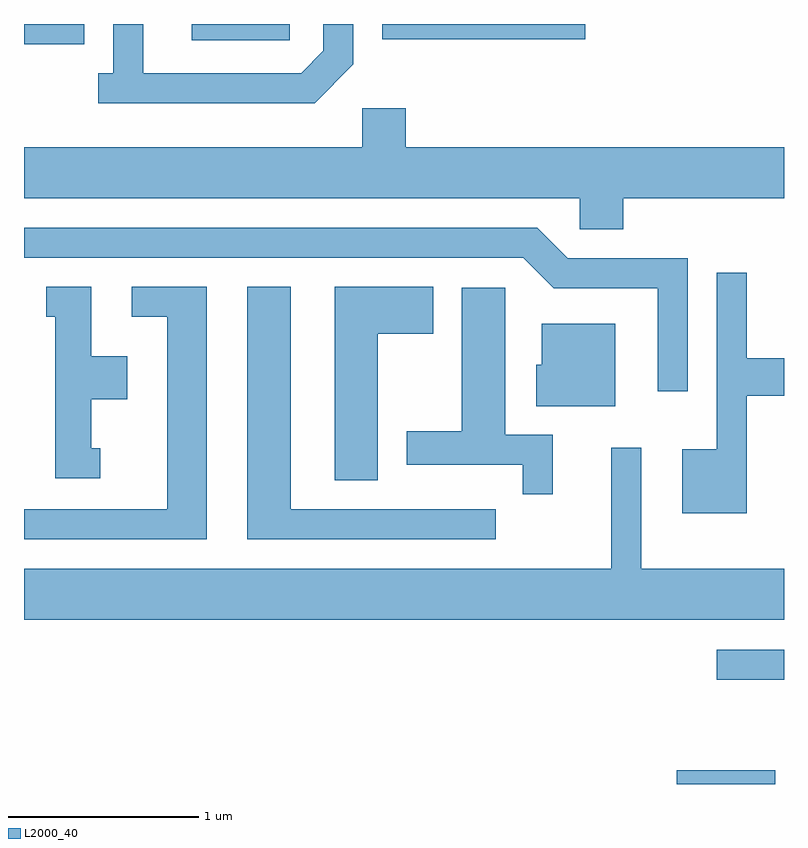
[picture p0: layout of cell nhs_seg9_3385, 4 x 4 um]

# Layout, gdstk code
import gdstk
lib = gdstk.Library(unit=1e-6, precision=1e-09)
def R(c, l, rs):  # rectangles x0, y0, x1, y1
    for r in rs: c.add(gdstk.rectangle(r[:2], r[2:], *l))
def P(c, l, *ps):  # polygons
    for p in ps: c.add(gdstk.Polygon(p, *l))
L2000_40 = (2000, 40)

nhs_seg9_3385 = lib.new_cell('nhs_seg9_3385')
R(nhs_seg9_3385, L2000_40, [(287.046,2066.432,287.564,2066.504), (287.258,2066.981,287.611,2067.139), (283.611,2070.326,283.929,2070.432), (284.493,2070.346,285.009,2070.432), (285.496,2070.351,286.564,2070.432)])
P(nhs_seg9_3385, L2000_40, [(285.344,2070.219),(285.344,2070.432),(285.186,2070.432),(285.186,2070.292),(285.069,2070.174),(284.239,2070.174),(284.239,2070.432),(284.081,2070.432),(284.081,2070.174),(284.003,2070.174),(284.003,2070.016),(285.142,2070.016)],
  [(286.764,2069.516),(287.611,2069.516),(287.611,2069.784),(285.619,2069.784),(285.619,2069.989),(285.391,2069.989),(285.391,2069.784),(283.611,2069.784),(283.611,2069.516),(286.536,2069.516),(286.536,2069.351),(286.764,2069.351)],
  [(287.104,2069.199),(286.472,2069.199),(286.312,2069.359),(283.611,2069.359),(283.611,2069.201),(286.239,2069.201),(286.399,2069.041),(286.946,2069.041),(286.946,2068.498),(287.104,2068.498)],
  [(287.414,2068.476),(287.611,2068.476),(287.611,2068.674),(287.414,2068.674),(287.414,2069.123),(287.256,2069.123),(287.256,2068.194),(287.076,2068.194),(287.076,2067.856),(287.414,2067.856)],
  [(284.013,2068.199),(283.964,2068.199),(283.964,2068.456),(284.154,2068.456),(284.154,2068.684),(283.964,2068.684),(283.964,2069.049),(283.728,2069.049),(283.728,2068.891),(283.776,2068.891),(283.776,2068.041),(284.013,2068.041)],
  [(286.093,2067.879),(285.014,2067.879),(285.014,2069.049),(284.786,2069.049),(284.786,2067.721),(286.093,2067.721)],
  [(284.574,2069.049),(284.178,2069.049),(284.178,2068.891),(284.366,2068.891),(284.366,2067.879),(283.611,2067.879),(283.611,2067.721),(284.574,2067.721)],
  [(285.474,2068.801),(285.764,2068.801),(285.764,2069.049),(285.246,2069.049),(285.246,2068.031),(285.474,2068.031)],
  [(286.394,2068.269),(286.144,2068.269),(286.144,2069.044),(285.916,2069.044),(285.916,2068.289),(285.626,2068.289),(285.626,2068.111),(286.236,2068.111),(286.236,2067.958),(286.394,2067.958)],
  [(286.724,2068.854),(286.336,2068.854),(286.336,2068.639),(286.306,2068.639),(286.306,2068.421),(286.724,2068.421)],
  [(287.611,2067.564),(286.859,2067.564),(286.859,2068.202),(286.701,2068.202),(286.701,2067.564),(283.611,2067.564),(283.611,2067.296),(287.611,2067.296)])

lib.write_gds('nhs_seg9_3385.gds')
